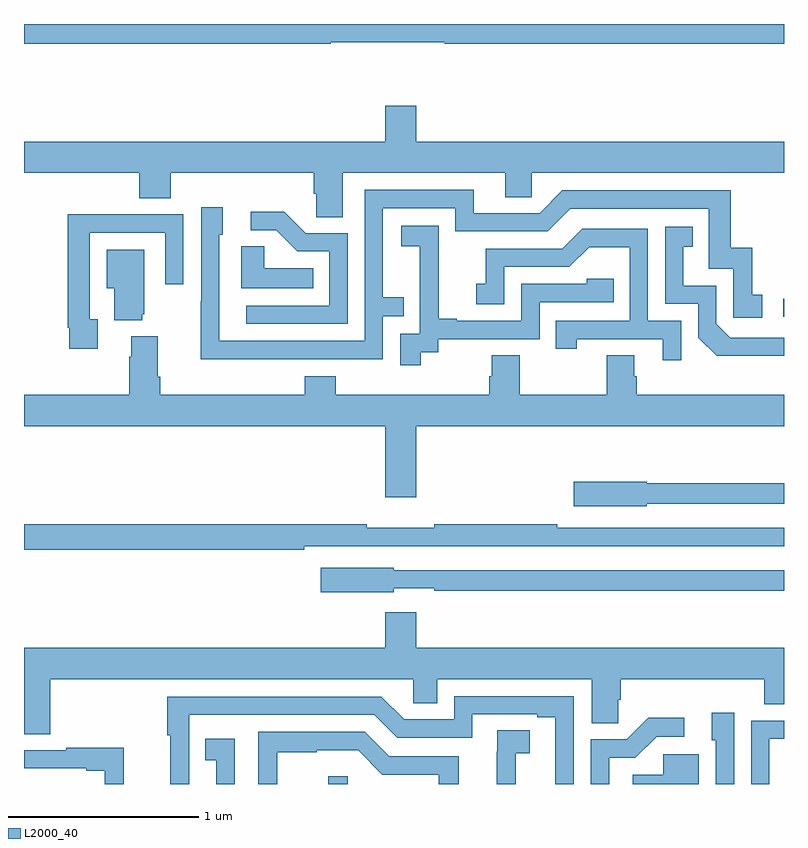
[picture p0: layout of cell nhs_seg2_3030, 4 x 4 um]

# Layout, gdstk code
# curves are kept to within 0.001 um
import gdstk
lib = gdstk.Library(unit=1e-6, precision=1e-09)
def R(c, l, rs):  # rectangles x0, y0, x1, y1
    for r in rs: c.add(gdstk.rectangle(r[:2], r[2:], *l))
def P(c, l, *ps):  # polygons
    for p in ps: c.add(gdstk.Polygon(p, *l))
L2000_40 = (2000, 40)

nhs_seg2_3030 = lib.new_cell('nhs_seg2_3030')
R(nhs_seg2_3030, L2000_40, [(272.602,597.8,272.703,597.841), (274.995,600.258,275,600.354)])
P(nhs_seg2_3030, L2000_40, [(272.614,601.704),(273.214,601.704),(273.214,601.696),(275,601.696),(275,601.8),(271,601.8),(271,601.696),(272.614,601.696)],
  [(272.677,601.016),(273.533,601.016),(273.533,600.889),(273.672,600.889),(273.672,601.016),(275,601.016),(275,601.18),(273.064,601.18),(273.064,601.369),(272.9,601.369),(272.9,601.18),(271,601.18),(271,601.016),(271.607,601.016),(271.607,600.883),(271.772,600.883),(271.772,601.016),(272.525,601.016),(272.525,600.907),(272.538,600.907),(272.538,600.784),(272.677,600.784)],
  [(272.393,600.036),(272.889,600.036),(272.889,600.261),(272.999,600.261),(272.999,600.362),(272.889,600.362),(272.889,600.831),(273.27,600.831),(273.27,600.708),(273.756,600.708),(273.876,600.828),(274.605,600.828),(274.605,600.513),(274.734,600.513),(274.734,600.255),(274.885,600.255),(274.885,600.375),(274.832,600.375),(274.832,600.622),(274.721,600.622),(274.721,600.924),(273.834,600.924),(273.714,600.804),(273.367,600.804),(273.367,600.927),(272.793,600.927),(272.793,600.132),(272.028,600.132),(272.028,600.69),(272.047,600.69),(272.047,600.835),(271.932,600.835),(271.932,600.341),(271.93,600.341),(271.93,600.035)],
  [(272.703,600.699),(272.484,600.699),(272.371,600.812),(272.193,600.812),(272.193,600.714),(272.327,600.714),(272.438,600.603),(272.607,600.603),(272.607,600.318),(272.169,600.318),(272.169,600.222),(272.703,600.222)],
  [(271.387,600.246),(271.347,600.246),(271.347,600.702),(271.743,600.702),(271.743,600.429),(271.839,600.429),(271.839,600.798),(271.523,600.798),(271.523,600.8),(271.231,600.8),(271.231,600.202),(271.239,600.202),(271.239,600.09),(271.387,600.09)],
  [(273.088,600.073),(273.18,600.073),(273.18,600.141),(273.714,600.141),(273.714,600.336),(274.103,600.336),(274.103,600.459),(273.963,600.459),(273.963,600.432),(273.618,600.432),(273.618,600.237),(273.277,600.237),(273.277,600.25),(273.182,600.25),(273.182,600.533),(273.183,600.533),(273.183,600.739),(272.985,600.739),(272.985,600.629),(273.083,600.629),(273.083,600.401),(273.084,600.401),(273.084,600.171),(272.979,600.171),(272.979,600.003),(273.088,600.003)],
  [(275,600.15),(274.716,600.15),(274.644,600.222),(274.644,600.423),(274.471,600.423),(274.471,600.627),(274.52,600.627),(274.52,600.733),(274.374,600.733),(274.374,600.327),(274.548,600.327),(274.548,600.15),(274.646,600.053),(275,600.053)],
  [(274.458,600.237),(274.284,600.237),(274.284,600.723),(273.938,600.723),(273.833,600.618),(273.43,600.618),(273.43,600.433),(273.381,600.433),(273.381,600.324),(273.528,600.324),(273.528,600.522),(273.87,600.522),(273.974,600.626),(274.188,600.626),(274.188,600.237),(273.799,600.237),(273.799,600.09),(273.91,600.09),(273.91,600.141),(274.361,600.141),(274.361,600.03),(274.458,600.03)],
  [(272.522,600.514),(272.265,600.514),(272.265,600.629),(272.144,600.629),(272.144,600.41),(272.522,600.41)],
  [(271.622,600.273),(271.633,600.273),(271.633,600.613),(271.436,600.613),(271.436,600.41),(271.475,600.41),(271.475,600.242),(271.622,600.242)],
  [(273.064,599.684),(275,599.684),(275,599.848),(274.226,599.848),(274.226,599.946),(274.213,599.946),(274.213,600.056),(274.066,600.056),(274.066,599.848),(273.609,599.848),(273.609,600.056),(273.461,600.056),(273.461,599.946),(273.449,599.946),(273.449,599.848),(272.642,599.848),(272.642,599.947),(272.477,599.947),(272.477,599.848),(271.718,599.848),(271.718,599.944),(271.705,599.944),(271.705,600.157),(271.565,600.157),(271.565,600.05),(271.553,600.05),(271.553,599.848),(271,599.848),(271,599.684),(272.9,599.684),(272.9,599.31),(273.064,599.31)],
  [(274.278,599.274),(275,599.274),(275,599.383),(274.278,599.383),(274.278,599.391),(273.894,599.391),(273.894,599.261),(274.278,599.261)],
  [(272.474,599.052),(275,599.052),(275,599.148),(273.806,599.148),(273.806,599.168),(273.16,599.168),(273.16,599.149),(272.804,599.149),(272.804,599.168),(271,599.168),(271,599.032),(272.474,599.032)],
  [(272.946,598.83),(273.16,598.83),(273.16,598.818),(275,598.818),(275,598.926),(272.946,598.926),(272.946,598.939),(272.562,598.939),(272.562,598.81),(272.946,598.81)],
  [(271.139,598.352),(273.048,598.352),(273.048,598.225),(273.175,598.225),(273.175,598.352),(273.989,598.352),(273.989,598.12),(274.128,598.12),(274.128,598.243),(274.142,598.243),(274.142,598.352),(274.895,598.352),(274.895,598.219),(275,598.219),(275,598.516),(273.064,598.516),(273.064,598.705),(272.9,598.705),(272.9,598.516),(271,598.516),(271,598.063),(271.139,598.063)],
  [(271.87,597.836),(271.869,598.164),(272.844,598.164),(272.964,598.044),(273.36,598.044),(273.36,598.167),(273.701,598.167),(273.701,598.152),(273.797,598.152),(273.797,597.8),(273.894,597.8),(273.894,598.263),(273.264,598.263),(273.264,598.14),(273,598.14),(272.88,598.26),(271.753,598.26),(271.753,598.057),(271.771,598.057),(271.771,597.8),(271.87,597.8)],
  [(274.737,598.174),(274.619,598.174),(274.619,598.029),(274.641,598.029),(274.641,597.8),(274.737,597.8)],
  [(274.08,597.939),(274.218,597.939),(274.329,598.05),(274.474,598.05),(274.474,598.148),(274.286,598.148),(274.173,598.035),(273.984,598.035),(273.984,597.8),(274.08,597.8)],
  [(274.923,598.038),(275,598.038),(275,598.134),(274.827,598.134),(274.827,597.8),(274.923,597.8)],
  [(273.587,597.961),(273.661,597.961),(273.661,598.082),(273.49,598.082),(273.49,597.971),(273.488,597.971),(273.488,597.8),(273.587,597.8)],
  [(272.333,597.966),(272.54,597.966),(272.54,597.977),(272.758,597.977),(272.886,597.849),(273.182,597.849),(273.182,597.8),(273.289,597.8),(273.289,597.945),(272.922,597.945),(272.793,598.074),(272.232,598.074),(272.232,597.8),(272.333,597.8)],
  [(272.109,598.039),(271.954,598.039),(271.954,597.926),(272.012,597.926),(272.012,597.8),(272.109,597.8)],
  [(271.524,597.991),(271.222,597.991),(271.222,597.978),(271,597.978),(271,597.882),(271.328,597.882),(271.328,597.87),(271.424,597.87),(271.424,597.8),(271.524,597.8)],
  [(274.552,597.957),(274.365,597.957),(274.365,597.85),(274.203,597.85),(274.203,597.8),(274.552,597.8)])

lib.write_gds('nhs_seg2_3030.gds')
